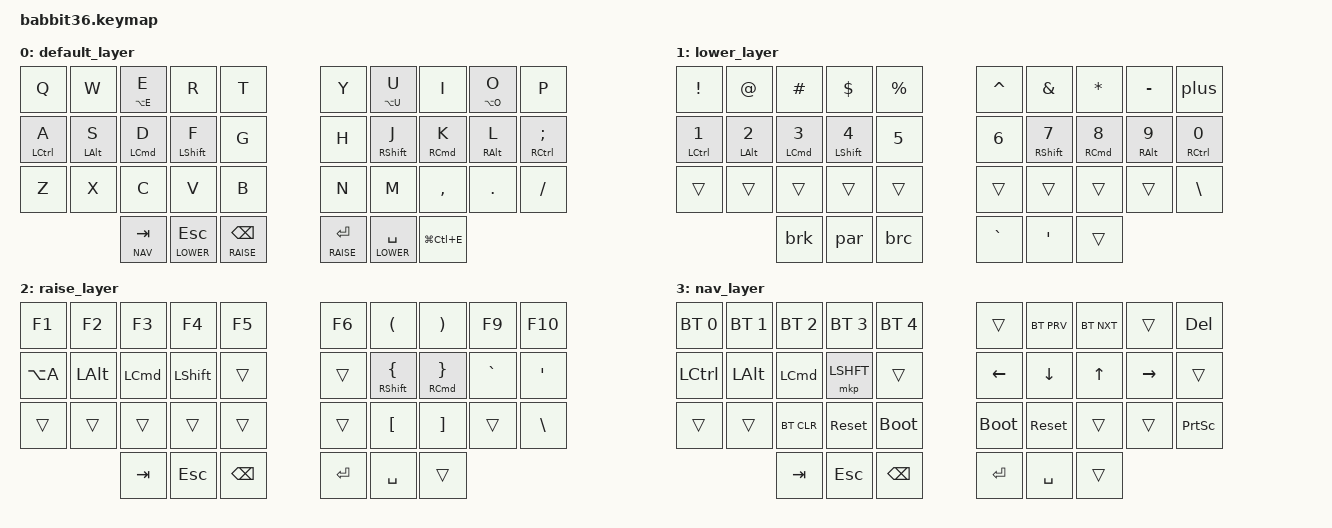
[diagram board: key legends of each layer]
/*
 * Copyright (c) 2020 The ZMK Contributors
 *
 * SPDX-License-Identifier: MIT
 */

#include <behaviors.dtsi>
#include <dt-bindings/zmk/keys.h>
#include <dt-bindings/zmk/bt.h>

#define DEFAULT 0
#define LOWER   1
#define RAISE   2
#define NAV     3

// todo: make dongle work.
// https://github.com/zmkfirmware/zmk/tree/main/app/boards/shields/corne
// https://github.com/aroum/zmk-enki42
// todo: prevent homerow mods on the same half
// set OS layout to U.S. Ansi

&lt {
    quick-tap-ms = <200>;
    flavor = "balanced";
};

&caps_word {
    continue-list = <UNDERSCORE MINUS>;
};

/ {
    behaviors {
        hm: hold_preferred_homerow_mods {
            compatible = "zmk,behavior-hold-tap";
            #binding-cells = <2>;
            tapping-term-ms = <150>;
            quick-tap-ms = <200>;
            require-prior-idle-ms = <125>;
            flavor = "hold-preferred";
            bindings = <&kp>, <&kp>;
        };
        tm: tap_preferred_homerow_mods {
            compatible = "zmk,behavior-hold-tap";
            #binding-cells = <2>;
            tapping-term-ms = <150>;
            quick-tap-ms = <200>;
            require-prior-idle-ms = <125>;
            flavor = "tap-preferred";
            bindings = <&kp>, <&kp>;
        };
        plus: plus_equals {
            compatible = "zmk,behavior-mod-morph";
            #binding-cells = <0>;
            bindings = <&kp PLUS>, <&kp EQUAL>;
            mods = <(MOD_LSFT|MOD_RSFT)>;
        };
        par: paranthesis {
            compatible = "zmk,behavior-mod-morph";
            #binding-cells = <0>;
            bindings = <&kp LPAR>, <&kp RPAR>;
            mods = <(MOD_LSFT|MOD_RSFT)>;
        };
        brc: curly_braces {
            compatible = "zmk,behavior-mod-morph";
            #binding-cells = <0>;
            bindings = <&kp LBRC>, <&kp RBRC>;
            mods = <(MOD_LSFT|MOD_RSFT)>;
        };
        brk: brackets {
            compatible = "zmk,behavior-mod-morph";
            #binding-cells = <0>;
            bindings = <&kp LBKT>, <&kp RBKT>;
            mods = <(MOD_LSFT|MOD_RSFT)>;
        };
    };
        keymap {
                compatible = "zmk,keymap";

        default_layer {
            bindings = <
// ╭─────────────┬────────────┬────────────┬─────────────┬───────╮   ╭───────┬─────────────┬────────────┬────────────┬────────────────╮
        &kp Q        &kp W      &tm LA(E) E     &kp R      &kp T       &kp Y   &tm LA(U) U     &kp I      &tm LA(O) O       &kp P
// ├─────────────┼────────────┼────────────┼─────────────┼───────┤   ├───────┼─────────────┼────────────┼────────────┼────────────────┤
      &tm LCTRL A   &tm LALT S   &tm LCMD D   &hm LSHFT F   &kp G       &kp H   &hm RSHFT J   &tm RCMD K   &tm RALT L   &tm RCTRL SEMI
// ├─────────────┼────────────┼────────────┼─────────────┼───────┤   ├───────┼─────────────┼────────────┼────────────┼────────────────┤
        &kp Z        &kp X        &kp C         &kp V      &kp B       &kp N      &kp M      &kp COMMA     &kp DOT        &kp FSLH
// ╰─────────────┴────────────┼────────────┼─────────────┼───────┤   ├───────┼─────────────┼────────────┴────────────┴────────────────╯
                 &lt NAV TAB     &lt LOWER ESC    &lt RAISE BSPC       &lt RAISE RET   &lt LOWER SPACE    &kp LG(LC(E))
//            ╰───────────────┴─────────────────┴────────────────╯   ╰───────────────┴──────────────────┴──────────────╯
            >;
        };


        lower_layer {
            bindings = <
// ╭──────────────┬─────────────┬─────────────┬──────────────┬───────────╮   ╭───────────┬──────────────┬─────────────┬─────────────┬──────────────╮
       &kp EXCL       &kp AT       &kp HASH       &kp DLLR     &kp PRCNT       &kp CARET     &kp AMPS      &kp STAR      &kp MINUS       &plus
// ├──────────────┼─────────────┼─────────────┼──────────────┼───────────┤   ├───────────┼──────────────┼─────────────┼─────────────┼──────────────┤
      &tm LCTRL N1   &tm LALT N2   &tm LCMD N3   &hm LSHFT N4     &kp N5         &kp N6     &hm RSHFT N7   &tm RCMD N8   &tm RALT N9   &tm RCTRL N0
// ├──────────────┼─────────────┼─────────────┼──────────────┼───────────┤   ├───────────┼──────────────┼─────────────┼─────────────┼──────────────┤
         &trans        &trans        &trans         &trans       &trans          &trans        &trans        &trans        &trans       &kp BSLH
// ╰──────────────┴─────────────┼─────────────┼──────────────┼───────────┤   ├───────────┼──────────────┼─────────────┴─────────────┴──────────────╯
                                     &brk            &par         &brc          &kp GRAVE     &kp SQT   &trans
//                              ╰─────────────┴──────────────┴───────────╯   ╰───────────┴────────────┴────────╯
            >;
        };

        raise_layer {
            bindings = <
// ╭───────────┬──────────┬─────────┬─────────┬────────╮   ╭────────┬────────────────┬───────────────┬────────┬─────────────╮
       &kp F1      &kp F2    &kp F3    &kp F4   &kp F5       &kp F6      &kp LPAR        &kp RPAR      &kp F9     &kp F10
// ├───────────┼──────────┼─────────┼─────────┼────────┤   ├────────┼────────────────┼───────────────┼────────┼─────────────┤
     &kp LA(A)   &kp LALT  &kp LCMD  &kp LSHFT  &trans      &trans   &hm RSHFT LBRC   &hm RCMD RBRC  &kp GRAVE   &kp SQT
// ├───────────┼──────────┼─────────┼─────────┼────────┤   ├────────┼────────────────┼───────────────┼────────┼─────────────┤
       &trans     &trans    &trans    &trans    &trans       &trans      &kp LBKT        &kp RBKT      &trans     &kp BSLH
// ╰───────────┴──────────┼─────────┼─────────┼────────┤   ├────────┼────────────────┼───────────────┴────────┴─────────────╯
                         &kp TAB   &kp ESC    &kp BSPC       &kp RET   &kp SPACE   &trans
//                     ╰────────┴───────────┴──────────╯   ╰─────────┴───────────┴─────────╯
            >;
        };

        nav_layer {
            bindings = <
// ╭──────────────┬──────────────┬──────────────┬──────────────┬──────────────╮   ╭────────────┬────────────┬──────────┬───────────┬─────────────╮
      &bt BT_SEL 0   &bt BT_SEL 1   &bt BT_SEL 2   &bt BT_SEL 3   &bt BT_SEL 4        &trans      &bt BT_PRV  &bt BT_NXT   &trans     &kp DEL
// ├──────────────┼──────────────┼──────────────┼──────────────┼──────────────┤   ├────────────┼────────────┼──────────┼───────────┼─────────────┤
       &kp LCTRL       &kp LALT       &kp LCMD      &mkp LSHFT    &trans             &kp LEFT      &kp DOWN     &kp UP    &kp RIGHT   &trans
// ├──────────────┼──────────────┼──────────────┼──────────────┼──────────────┤   ├────────────┼────────────┼──────────┼───────────┼─────────────┤
        &trans         &trans       &bt BT_CLR     &sys_reset    &bootloader        &bootloader  &sys_reset    &trans     &trans      &kp PSCRN
// ╰──────────────┴──────────────┼──────────────┼──────────────┼──────────────┤   ├────────────┼────────────┼──────────┴───────────┴─────────────╯
                                                 &kp TAB    &kp ESC   &kp BSPC      &kp RET    &kp SPACE   &trans
//                                             ╰─────────┴───────────┴────────╯   ╰──────────┴───────────┴─────────╯
            >;
        };
    };
};
